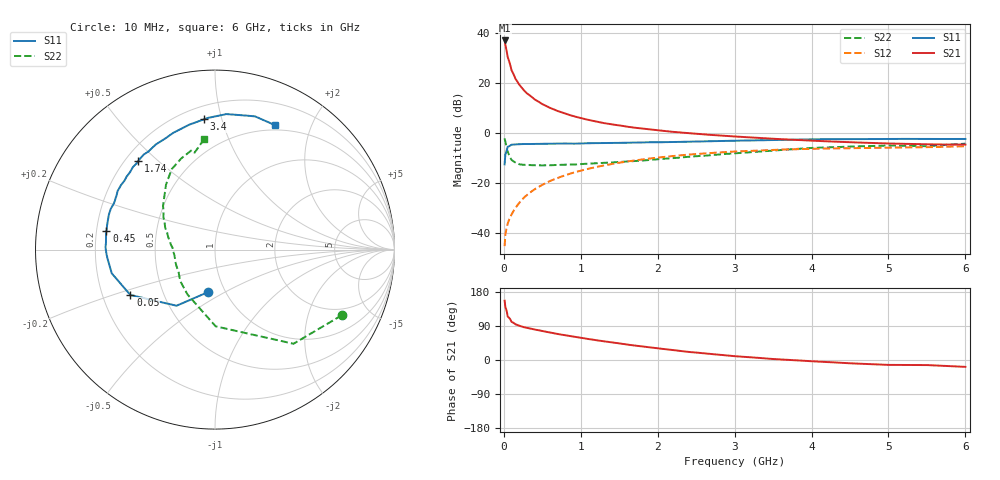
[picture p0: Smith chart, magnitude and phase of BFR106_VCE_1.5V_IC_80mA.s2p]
! Infineon Technologies  Discrete & RF Semiconductors
! BFR106
! VCE =  1.5 V,  IC =  80 mA
! Common Emitter S-Parameters:  Nov 2015
# GHz  S  MA  R  50
!  f  S11  S21  S12  S22
! GHz  MAG  ANG  MAG  ANG  MAG  ANG  MAG  ANG
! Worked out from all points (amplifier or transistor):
!   210 points, 10 MHz to 6 GHz, reference 50 ohm
!   highest |S21| = 37.2 dB at 10 MHz (marker M1)
!   |S21| within 3 dB of that: start of sweep to 28.81 MHz
!   unconditionally stable (mu >= 1): 144.6 MHz to end of sweep
!   at 185 MHz: K = 1.04, MAG = 23.1 dB, |S12| = -28.5 dB
!   at 1.52 GHz: K = 1.08, MAG = 5.7 dB, |S12| = -11.7 dB
!   at 6 GHz: K = 1.02, MAG = -0.6 dB, |S12| = -5.2 dB
!   S11 on the Smith chart (normalised r, x): 10 MHz: 0.83, -0.42; 50 MHz: 0.32, -0.23; 450 MHz: 0.24, +0.08; 1.74 GHz: 0.25, +0.43; 3.4 GHz: 0.28, +0.88; 6 GHz: 0.44, +1.51
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0.01  0.2388 -98.9  72.15 156.7  0.0055 73.3  0.7956 -27.4
0.02  0.3791 -124.4  59.42 139.6  0.0094 63.6  0.6829 -50.2
0.05  0.535 -151.8  33.65 114.7  0.0156 57.4  0.4275 -89.5
0.1  0.5901 -167.0  18.35 100.7  0.0236 64.0  0.2936 -121.3
0.15  0.5995 -174.3  12.41 94.3  0.0319 67.5  0.2613 -137.9
0.2  0.6055 -177.9  9.421 90.2  0.0404 70.3  0.24 -147.3
0.26  0.6098 178.4  7.283 86.6  0.0511 71.4  0.234 -155.8
0.3  0.6087 176.4  6.306 84.7  0.058 72.0  0.2325 -159.2
0.4  0.6131 171.9  4.778 80.4  0.0755 72.4  0.2293 -166.3
0.45  0.6141 170.1  4.304 78.6  0.0841 72.1  0.2284 -168.7
0.5  0.6157 168.4  3.836 76.3  0.0928 71.8  0.2279 -171.2
0.6  0.6187 164.9  3.226 72.4  0.1107 70.7  0.2292 -174.2
0.7  0.6227 161.8  2.793 68.5  0.1276 69.7  0.2328 -177.0
1.02  0.6262 151.2  1.98 58.1  0.1818 64.4  0.2423 175.4
1.3  0.6338 142.9  1.601 49.2  0.2268 59.4  0.2552 169.5
1.74  0.6524 131.0  1.273 37.2  0.2912 51.5  0.281 161.0
2.02  0.6613 123.8  1.138 30.4  0.3285 46.3  0.3047 155.8
3.1  0.7138 100.0  0.845 8.7  0.4376 27.6  0.4071 134.0
3.4  0.7285 94.8  0.792 4.2  0.4591 23.0  0.4413 128.6
4.1  0.758 84.0  0.7 -4.3  0.4931 12.8  0.5147 116.6
5.1  0.7734 72.2  0.62 -13.0  0.518 1.3  0.5655 102.9
6  0.77 64.1  0.594 -18.1  0.5502 -7.4  0.6198 95.5
